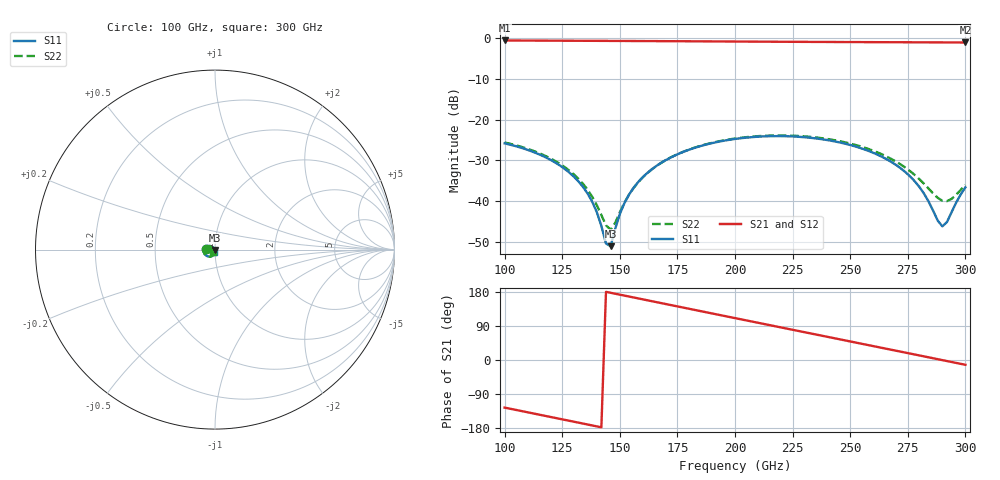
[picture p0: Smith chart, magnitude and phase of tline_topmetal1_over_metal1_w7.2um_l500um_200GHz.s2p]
#  GHZ S DB R 50
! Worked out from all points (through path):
!   101 points, 100 GHz to 300 GHz, reference 50 ohm
!   highest |S21| = -0.64 dB at 100 GHz (marker M1); lowest = -1.1 dB at 300 GHz (marker M2)
!   group delay of S21, straight-line fit = 3.43 ps
!   lowest |S11| = -51.0 dB at 146 GHz (marker M3), VSWR 1.01, Z = 49.8 - j0.187 ohm
!   |S11| at or under -10 dB: start of sweep to end of sweep
!   |S22| runs from -47.0 to -23.9 dB; largest |S21 - S12| = 1.5e-14
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100  -25.84 173.7  -0.64 -125.6  -0.64 -125.6  -25.63 175.9
120  -29.90 147.9  -0.69 -150.4  -0.69 -150.4  -29.56 151.6
128  -32.95 139.1  -0.71 -160.3  -0.71 -160.3  -32.46 144.1
134  -36.48 134.5  -0.72 -167.7  -0.72 -167.7  -35.73 141.3
140  -42.65 137.1  -0.73 -175.2  -0.73 -175.2  -40.96 147.6
144  -50.38 170.0  -0.74 179.9  -0.74 179.9  -45.92 174.6
146  -51.02 -138.2  -0.75 177.4  -0.75 177.4  -46.96 -155.7
150  -43.16 -98.4  -0.76 172.4  -0.76 172.4  -42.73 -113.1
154  -38.39 -94.2  -0.77 167.5  -0.77 167.5  -38.40 -102.3
160  -34.10 -97.1  -0.78 160.0  -0.78 160.0  -34.15 -101.3
168  -30.59 -104.9  -0.81 150.1  -0.81 150.1  -30.60 -107.0
182  -27.02 -121.0  -0.85 132.8  -0.85 132.8  -26.98 -121.5
200  -24.76 -142.7  -0.90 110.6  -0.90 110.6  -24.66 -141.9
216  -24.08 -161.9  -0.95 90.8  -0.95 90.8  -23.92 -160.3
234  -24.55 176.7  -0.99 68.7  -0.99 68.7  -24.32 179.4
252  -26.56 156.1  -1.04 46.5  -1.04 46.5  -26.18 160.5
268  -30.44 140.1  -1.07 26.8  -1.07 26.8  -29.70 147.6
280  -36.50 135.3  -1.09 12.0  -1.09 12.0  -34.60 147.9
290  -46.17 -168.7  -1.12 -0.3  -1.12 -0.3  -39.89 -176.8
292  -45.10 -140.5  -1.12 -2.8  -1.12 -2.8  -39.99 -163.0
294  -42.70 -122.9  -1.13 -5.2  -1.13 -5.2  -39.44 -150.0
300  -36.62 -107.5  -1.14 -12.6  -1.14 -12.6  -36.00 -127.2
